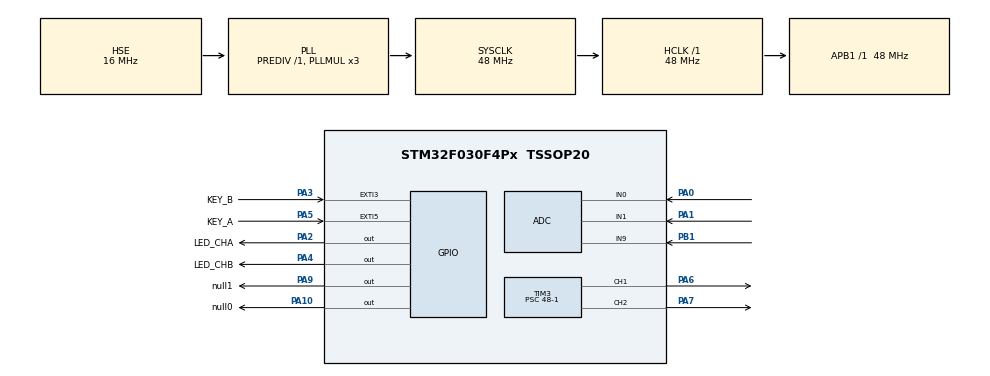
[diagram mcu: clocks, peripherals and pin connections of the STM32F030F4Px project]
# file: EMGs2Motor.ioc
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ADC.ExternalTrigConv=ADC_EXTERNALTRIGCONV_T1_TRGO
Dma.ADC.0.Direction=DMA_PERIPH_TO_MEMORY
Dma.ADC.0.Instance=DMA1_Channel1
Dma.ADC.0.MemDataAlignment=DMA_MDATAALIGN_HALFWORD
Dma.ADC.0.MemInc=DMA_MINC_ENABLE
Dma.ADC.0.Mode=DMA_NORMAL
Dma.ADC.0.PeriphDataAlignment=DMA_PDATAALIGN_HALFWORD
Dma.ADC.0.PeriphInc=DMA_PINC_DISABLE
Dma.ADC.0.Priority=DMA_PRIORITY_LOW
Dma.Request0=ADC
Mcu.Family=STM32F0
Mcu.Name=STM32F030F4Px
Mcu.Package=TSSOP20
Mcu.UserConstants=MOTOR_A_TIM,htim3;ADC_TIM,htim1;LED_TIM,htim14;KEY_TIM,htim16
NVIC.ADC1_IRQn=true\:0\:0\:false\:false\:true\:true\:true
NVIC.DMA1_Channel1_IRQn=true\:0\:0\:false\:false\:true\:false\:true
NVIC.EXTI2_3_IRQn=true\:0\:0\:false\:false\:true\:true\:true
NVIC.EXTI4_15_IRQn=true\:0\:0\:false\:false\:true\:true\:true
NVIC.TIM14_IRQn=true\:1\:0\:true\:false\:true\:true\:true
NVIC.TIM16_IRQn=true\:0\:0\:false\:false\:true\:true\:true
NVIC.TIM1_BRK_UP_TRG_COM_IRQn=true\:0\:0\:true\:false\:true\:true\:true
PA0.Mode=IN0
PA0.Signal=ADC_IN0
PA1.Mode=IN1
PA1.Signal=ADC_IN1
PA10.GPIO_Label=null0
PA10.GPIO_PuPd=GPIO_PULLDOWN
PA10.Signal=GPIO_Output
PA13.Mode=Serial_Wire
PA13.Signal=SYS_SWDIO
PA14.Mode=Serial_Wire
PA14.Signal=SYS_SWCLK
PA2.GPIO_Label=LED_CHA
PA2.GPIO_PuPd=GPIO_PULLDOWN
PA2.Signal=GPIO_Output
PA3.GPIO_Label=KEY_B
PA3.GPIO_ModeDefaultEXTI=GPIO_MODE_IT_FALLING
PA3.Signal=GPXTI3
PA4.GPIO_Label=LED_CHB
PA4.GPIO_PuPd=GPIO_PULLDOWN
PA4.Signal=GPIO_Output
PA5.GPIO_Label=KEY_A
PA5.GPIO_ModeDefaultEXTI=GPIO_MODE_IT_FALLING
PA5.Signal=GPXTI5
PA6.Signal=S_TIM3_CH1
PA7.Signal=S_TIM3_CH2
PA9.GPIO_Label=null1
PA9.GPIO_PuPd=GPIO_PULLDOWN
PA9.Signal=GPIO_Output
PB1.Mode=IN9
PB1.Signal=ADC_IN9
PF0-OSC_IN.Mode=HSE-External-Oscillator
PF0-OSC_IN.Signal=RCC_OSC_IN
PF1-OSC_OUT.Mode=HSE-External-Oscillator
PF1-OSC_OUT.Signal=RCC_OSC_OUT
ProjectManager.HeapSize=0x200
ProjectManager.StackSize=0x400
ProjectManager.TargetToolchain=MDK-ARM V5.27
RCC.AHBFreq_Value=48000000
RCC.APB1Freq_Value=48000000
RCC.APB1TimFreq_Value=48000000
RCC.HCLKFreq_Value=48000000
RCC.HSE_VALUE=16000000
RCC.PLLMUL=RCC_PLL_MUL3
RCC.PLLSourceVirtual=RCC_PLLSOURCE_HSE
RCC.SYSCLKFreq_VALUE=48000000
RCC.SYSCLKSource=RCC_SYSCLKSOURCE_PLLCLK
SH.S_TIM3_CH1.0=TIM3_CH1,PWM Generation1 CH1
SH.S_TIM3_CH2.0=TIM3_CH2,PWM Generation2 CH2
TIM1.AutoReloadPreload=TIM_AUTORELOAD_PRELOAD_ENABLE
TIM1.Prescaler=48-1
TIM1.TIM_MasterOutputTrigger=TIM_TRGO_UPDATE
TIM14.AutoReloadPreload=TIM_AUTORELOAD_PRELOAD_ENABLE
TIM14.Period=1000-1
TIM14.Prescaler=48-1
TIM16.AutoReloadPreload=TIM_AUTORELOAD_PRELOAD_ENABLE
TIM16.Period=1000-1
TIM16.Prescaler=48-1
TIM3.AutoReloadPreload=TIM_AUTORELOAD_PRELOAD_ENABLE
TIM3.Channel-PWM\ Generation1\ CH1=TIM_CHANNEL_1
TIM3.Channel-PWM\ Generation2\ CH2=TIM_CHANNEL_2
TIM3.Period=1000-1
TIM3.Prescaler=48-1
TIM3.Pulse-PWM\ Generation1\ CH1=0
TIM3.Pulse-PWM\ Generation2\ CH2=0
TIM3.TIM_MasterOutputTrigger=TIM_TRGO_RESET
VP_TIM14_VS_ClockSourceINT.Mode=Enable_Timer
VP_TIM16_VS_ClockSourceINT.Mode=Enable_Timer
VP_TIM1_VS_ClockSourceINT.Mode=Internal
board=custom

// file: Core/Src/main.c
/* USER CODE BEGIN Header */
/**
  ******************************************************************************
  * @file           : main.c
  * @brief          : Main program body
  ******************************************************************************
  * @attention
  *
  * <h2><center>&copy; Copyright (c) 2021 STMicroelectronics.
  * All rights reserved.</center></h2>
  *
  * This software component is licensed by ST under BSD 3-Clause license,
  * the "License"; You may not use this file except in compliance with the
  * License. You may obtain a copy of the License at:
  *                        opensource.org/licenses/BSD-3-Clause
  *
  ******************************************************************************
  */
/* USER CODE END Header */
#include "main.h"
#include "adc.h"
#include "dma.h"
#include "tim.h"
#include "gpio.h"

void SystemClock_Config(void);
/* USER CODE BEGIN PFP */

void UserInit(void);
void PowerOut(void);
uint8_t  GetValueLen(uint8_t channal);
void TimerInit(TIM_HandleTypeDef htim, uint16_t period);
void KeyService(void);
void Set_Value(uint8_t channel);
/* USER CODE END PFP */

/* USER CODE BEGIN 0 */
//ADC_Buff
uint8_t ADC_Flag = 0U;
static const uint16_t adcLen = S_CHANNEL__NUM * ADC_LEN;
uint16_t ADC_Buff[adcLen];
uint16_t S_Value[S_CHANNEL__NUM][SUBDIVIDE + 1];
static const uint16_t S_Value_Vector = 0xFFF / SUBDIVIDE;
uint8_t S_Value_Centerline[S_CHANNEL__NUM] = {S_VALUE_CENTERLINE_CHA, S_VALUE_CENTERLINE_CHB};
uint8_t S_Value_Top[S_CHANNEL__NUM] = {S_VALUE_TOP_CHA, S_VALUE_TOP_CHB};
uint16_t S_Value_Set_Cycle_Tick = 0;
uint8_t S_Value_Pos[S_CHANNEL__NUM][2];
uint8_t S_Value_Len[S_CHANNEL__NUM];
static const uint8_t S_Value_Centerline_Set_Min[S_CHANNEL__NUM] = {SET_S_VALUE_CENTERLINE_CHA_MIN, SET_S_VALUE_CENTERLINE_CHB_MIN};
static const uint8_t S_Value_Centerline_Set_Max[S_CHANNEL__NUM] = {SET_S_VALUE_CENTERLINE_CHA_MAX, SET_S_VALUE_CENTERLINE_CHB_MAX};

float Sig2Speed[S_CHANNEL__NUM] = {(float)S_VALUE_TOP_CHA / SPEED_SUBDIVIDE, (float)S_VALUE_TOP_CHB / SPEED_SUBDIVIDE};
static const uint16_t Speed_Top = MOTOR_A_TIM_PERIOD * 0.6 ; //
static const float Speed_Sub = (float)Speed_Top / SPEED_SUBDIVIDE;

float Sig2Led = (float)SUBDIVIDE / LED_SUBDIVIDE;
uint16_t Led_ARR[S_CHANNEL__NUM] = {LED_SUBDIVIDE, LED_SUBDIVIDE};
uint16_t Led_CNT[S_CHANNEL__NUM] = {LED_SUBDIVIDE, LED_SUBDIVIDE};
uint16_t Led_CCR[S_CHANNEL__NUM] = {0};
static const uint16_t  Led_Keep_ON = (LED_TIM_PERIOD + 1) / LED_SUBDIVIDE;

uint8_t Value_Status = CH_ALL;
uint8_t Key_status[S_CHANNEL__NUM] = {0};
uint8_t Key_state[S_CHANNEL__NUM] = {0};
uint16_t Key_Down_Tick[S_CHANNEL__NUM] = {0};
uint16_t Key_Up_Tick[S_CHANNEL__NUM] = {0};

uint8_t Centerline_Set = CH_DIS;
uint8_t Value_Set_Channel = CH_DIS;
uint8_t Value_Set_Status = 0;
uint16_t Value_Set_Tem = 0;
uint8_t Value_Set_Flag = 1U;

uint16_t Sig2SpeedLevel[S_CHANNEL__NUM];

uint8_t PWR_Flag = 1U;
uint16_t PWR_Value;
/* USER CODE END 0 */

int main(void)
{

    /* MCU Configuration--------------------------------------------------------*/

    /* Reset of all peripherals, Initializes the Flash interface and the Systick. */
    HAL_Init();

    /* Configure the system clock */
    SystemClock_Config();

    /* Initialize all configured peripherals */
    MX_GPIO_Init();
    MX_DMA_Init();
    MX_ADC_Init();
    MX_TIM3_Init();
    MX_TIM1_Init();
    MX_TIM14_Init();
    MX_TIM16_Init();

    /* USER CODE BEGIN 2 */
    for(uint16_t i = 0; i < 20; i++)
    {
        HAL_GPIO_TogglePin (LED_CHA_GPIO_Port, LED_CHA_Pin);
        HAL_GPIO_TogglePin (LED_CHB_GPIO_Port, LED_CHB_Pin);
        HAL_Delay(200);
    }

    UserInit();

//hadc.Instance->DR;
//S_Value_Len S_Value_Centerline
    /* USER CODE END 2 */

    /* Infinite loop */
    /* USER CODE BEGIN WHILE */
    while (1)
    {

        PowerOut();
        KeyService();
        /* USER CODE END WHILE */

    }
}

void SystemClock_Config(void)
{
    RCC_OscInitTypeDef RCC_OscInitStruct = {0};
    RCC_ClkInitTypeDef RCC_ClkInitStruct = {0};

    /** Initializes the RCC Oscillators according to the specified parameters
    * in the RCC_OscInitTypeDef structure.
    */
    RCC_OscInitStruct.OscillatorType = RCC_OSCILLATORTYPE_HSI14 | RCC_OSCILLATORTYPE_HSE;
    RCC_OscInitStruct.HSEState = RCC_HSE_ON;
    RCC_OscInitStruct.HSI14State = RCC_HSI14_ON;
    RCC_OscInitStruct.HSI14CalibrationValue = 16;
    RCC_OscInitStruct.PLL.PLLState = RCC_PLL_ON;
    RCC_OscInitStruct.PLL.PLLSource = RCC_PLLSOURCE_HSE;
    RCC_OscInitStruct.PLL.PLLMUL = RCC_PLL_MUL3;
    RCC_OscInitStruct.PLL.PREDIV = RCC_PREDIV_DIV1;

    if (HAL_RCC_OscConfig(&RCC_OscInitStruct) != HAL_OK)
    {
        Error_Handler();
    }

    /** Initializes the CPU, AHB and APB buses clocks
    */
    RCC_ClkInitStruct.ClockType = RCC_CLOCKTYPE_HCLK | RCC_CLOCKTYPE_SYSCLK
                                  | RCC_CLOCKTYPE_PCLK1;
    RCC_ClkInitStruct.SYSCLKSource = RCC_SYSCLKSOURCE_PLLCLK;
    RCC_ClkInitStruct.AHBCLKDivider = RCC_SYSCLK_DIV1;
    RCC_ClkInitStruct.APB1CLKDivider = RCC_HCLK_DIV1;

    if (HAL_RCC_ClockConfig(&RCC_ClkInitStruct, FLASH_LATENCY_1) != HAL_OK)
    {
        Error_Handler();
    }
}

/* USER CODE BEGIN 4 */

void HAL_TIM_PeriodElapsedCallback ( TIM_HandleTypeDef *htim )
{

    if ( htim->Instance == LED_TIM.Instance )
    {
        if(ADC_Flag == 0U && Centerline_Set == CH_DIS && Value_Set_Channel == CH_DIS)
        {
            Led_ARR[CHA] = (uint16_t)(S_Value_Len[CHA] / Sig2Led);
            Led_ARR[CHB] = (uint16_t)(S_Value_Len[CHB] / Sig2Led);

        }

//Led_CNT
        if(Led_ARR[CHA] < LED_CENTERLINE)
            Led_ARR[CHA] = 0;

        if(Led_ARR[CHB] < LED_CENTERLINE)
            Led_ARR[CHB] = 0;

        if(Led_CNT[CHA] < Led_ARR[CHA])
        {
            if(Led_CCR[CHA] < LED_kEEP_ON)
            {
                Led_CCR[CHA]++;
                HAL_GPIO_WritePin (LED_CHA_GPIO_Port, LED_CHA_Pin, !0U);
            }
            else
            {
                Led_CNT[CHA] = LED_SUBDIVIDE - 1;
                Led_CCR[CHA] = 0;
                HAL_GPIO_WritePin (LED_CHA_GPIO_Port, LED_CHA_Pin, 0U);
            }

        }
        else if(Led_ARR[CHA] > 0)
        {
            Led_CNT[CHA]--;
        }
        else
        {

            HAL_GPIO_WritePin (LED_CHA_GPIO_Port, LED_CHA_Pin, 0U);
        }

        if(Led_CNT[CHB] < Led_ARR[CHB])
        {
            if(Led_CCR[CHB] < LED_kEEP_ON)
            {
                Led_CCR[CHB]++;
                HAL_GPIO_WritePin (LED_CHB_GPIO_Port, LED_CHB_Pin, !0U);
            }
            else
            {
                Led_CNT[CHB] = LED_SUBDIVIDE - 1;
                Led_CCR[CHB] = 0;
                HAL_GPIO_WritePin (LED_CHB_GPIO_Port, LED_CHB_Pin, 0U);
            }
        }
        else if(Led_ARR[CHB] > 0)
        {
            Led_CNT[CHB]--;
        }
        else
            HAL_GPIO_WritePin (LED_CHB_GPIO_Port, LED_CHB_Pin, 0U);

    }

    if( htim->Instance == KEY_TIM.Instance )
    {
        //Key_Down_Tick Key_Up_Tick
        if(HAL_GPIO_ReadPin(KEY_A_GPIO_Port, KEY_A_Pin) == 0U)
            Key_Down_Tick[CHA]++;
        else
        {
            Key_Down_Tick[CHA] = 0;
            Key_Up_Tick[CHA]++;
        }

        if(HAL_GPIO_ReadPin(KEY_B_GPIO_Port, KEY_B_Pin) == 0U)
            Key_Down_Tick[CHB]++;
        else
        {

            Key_Up_Tick[CHB]++;
            Key_Down_Tick[CHB] = 0;
        }
    }

}

void PowerOut(void)
{

    if(Centerline_Set == CH_DIS && Value_Set_Channel == CH_DIS)
    {
        if(GetValueLen(CH_ALL))
        {

            Sig2SpeedLevel[CHA] = S_Value_Len[CHA] / Sig2Speed[CHA];
            Sig2SpeedLevel[CHB] = S_Value_Len[CHB] / Sig2Speed[CHB] ;

            if(Sig2SpeedLevel[CHA] > Sig2SpeedLevel[CHB]
							&&Sig2SpeedLevel[CHA] - Sig2SpeedLevel[CHB] > COMPARE_TH)
            {
                    Value_Status = CHA;
            }
            else if(Sig2SpeedLevel[CHB] > Sig2SpeedLevel[CHA]
							&&Sig2SpeedLevel[CHB] - Sig2SpeedLevel[CHA] > COMPARE_TH)
            {
                    Value_Status = CHB;
            }
            else
                Value_Status = CH_DIS;

            if(Value_Status == CHA)
            {
                MOTOR_A_CCRA = Sig2SpeedLevel[CHA] * Speed_Sub; //Sig2SpeedLevel
                MOTOR_A_DIR_A_EN;
            }
            else if(Value_Status == CHB)
            {
                MOTOR_A_CCRB = Sig2SpeedLevel[CHB] * Speed_Sub; //Sig2SpeedLevel
                MOTOR_A_DIR_B_EN;
            }
            else
                MOTOR_A_DIS;

        }

    }
    else if(Value_Set_Channel < CH_DIS)
    {
        Set_Value(Value_Set_Channel);
        Value_Status = CH_DIS;
        MOTOR_A_DIS;
    }

}

uint8_t GetValueLen(uint8_t channal)
{

    if(ADC_Flag)
    {
        ADC_Flag = 0U;
        Value_Set_Flag = 1U;
        HAL_TIM_Base_Stop_IT(&LED_TIM);

        if(PWR_Flag)
        {
            PWR_Flag = 0U;

            for(uint16_t i = 0, j = 0; i < adcLen; i++, j++)
            {
                S_Value[CHA][ADC_Buff[i] / S_Value_Vector]++;
                i++;
                S_Value[CHB][ADC_Buff[i] / S_Value_Vector]++;

            }

            hadc.Instance->CHSELR = PWR_ADC;
            HAL_ADC_Start_DMA ( &hadc, ( uint32_t* ) &PWR_Value, 1 );

            for(uint16_t i = 0, j[S_CHANNEL__NUM] = {0U}; i < SUBDIVIDE; i++)
            {
                if(channal == CH_ALL)
                {
                    if(S_Value[CHA][i] > S_VALUE_COUNT_TH)
                    {
                        if(	j[CHA] == 0U)
                            S_Value_Pos[CHA][1] = i;
                        else
                            S_Value_Pos[CHA][0] = i;

                        j[CHA] = 1U;
                    }

                    if(S_Value[CHB][i] > S_VALUE_COUNT_TH)
                    {
                        if(	j[CHB] == 0U)
                            S_Value_Pos[CHB][1] = i;
                        else
                            S_Value_Pos[CHB][0] = i;

                        j[CHB] = 1U;
                    }

                }
                else
                {
                    if(S_Value[channal][i] > S_VALUE_COUNT_TH)
                    {
                        if(	j[channal] == 0U)
                            S_Value_Pos[channal][1] = i;
                        else
                            S_Value_Pos[channal][0] = i;

                        j[channal] = 1U;
                    }
                }
            }

            if(channal == CH_ALL)
            {
                S_Value_Len[CHA] = S_Value_Pos[CHA][0] - S_Value_Pos[CHA][1];
                S_Value_Len[CHB] = S_Value_Pos[CHB][0] - S_Value_Pos[CHB][1];
            }
            else
                S_Value_Len[channal] = S_Value_Pos[channal][0] - S_Value_Pos[channal][1];

            for(uint16_t i = 0; i < SUBDIVIDE; i++)
            {
                for(uint16_t j = 0; j < S_CHANNEL__NUM; j++)
                    S_Value[j][i] = 0;
            }

        }//PWR_Value
        else
        {
            if(PWR_Value > 2450)
            {
                PWR_Flag = 1U;
                hadc.Instance->CHSELR = EMG_ADC;
                HAL_ADC_Start_DMA ( &hadc, ( uint32_t* ) &ADC_Buff, adcLen );

            }
            else
            {
                MOTOR_A_DIS;
                HAL_ADC_Start_DMA ( &hadc, ( uint32_t* ) &PWR_Value, 1 );
            }

        }

        HAL_TIM_Base_Start_IT(&LED_TIM);
        return 1U;
    }

}

void KeyService(void)
{
//判断是否长按
    if((Key_Up_Tick[CHA] > KEY_TIME_OUT) || (Key_Up_Tick[CHB] > KEY_TIME_OUT))
    {
        Centerline_Set = CH_DIS;

        for(uint8_t i = 0; i < S_CHANNEL__NUM; i++)
        {
            Key_status[i] = 0;
            Key_Up_Tick[i] = 0;
            Led_ARR[i] = 0;
        }

        HAL_TIM_Base_Stop_IT(&KEY_TIM);
    }

    if(Key_Down_Tick[CHA] > KEY_LONG || Key_Down_Tick[CHB] > KEY_LONG)
    {
        HAL_TIM_Base_Stop_IT(&KEY_TIM);
        uint8_t channel = Key_Down_Tick[CHA] > KEY_LONG ? CHA : CHB;
        Centerline_Set = CH_DIS;
        Value_Set_Channel = channel;

        for(uint8_t i = 0; i < S_CHANNEL__NUM; i++)
        {
            Key_Down_Tick[i] = 0;
        }
    }
    else if((Key_Down_Tick[CHA] > KEY_SHORT || Key_Down_Tick[CHB] > KEY_SHORT) && Value_Set_Channel == CH_DIS)
    {
        //如果不是长按，则判断两个按键是否都处于松开状态
        if((HAL_GPIO_ReadPin(KEY_A_GPIO_Port, KEY_A_Pin) == !0U) && (HAL_GPIO_ReadPin(KEY_B_GPIO_Port, KEY_B_Pin) == !0U))
        {
            uint8_t channel = Key_Down_Tick[CHA] > KEY_SHORT ? CHA : CHB;
            Key_Down_Tick[channel] = 0;

            if(Centerline_Set == CH_DIS)
            {
                switch(Key_status[channel])
                {
                    case 0:
                        Key_status[channel]++;
                        break;

                    case 1:
                        Led_ARR[channel] = LED_SUBDIVIDE;

                        for(uint8_t i = 0U; i < S_CHANNEL__NUM; i++)
                        {
                            if(i != channel)
                                Led_ARR[i] = 0;
                        }

                        Centerline_Set = channel;		//当判断为双击，则进入Centerline设置状态
                        break;
                }
            }
            else
            {
                Key_Up_Tick[CHA] = 0;
                Key_Up_Tick[CHB] = 0;

                //调节Centerline幅值
                switch(channel)
                {
                    case CHA:
                        if(S_Value_Centerline[Centerline_Set] > S_Value_Centerline_Set_Min[Centerline_Set])
                            S_Value_Centerline[Centerline_Set]--;

                        break;

                    case CHB:
                        if(S_Value_Centerline[Centerline_Set] < S_Value_Centerline_Set_Max[Centerline_Set])
                            S_Value_Centerline[Centerline_Set]++;

                        break;
                }
            }

        }

    }
}

void Set_Value(uint8_t channel)
{
    GetValueLen(channel);

    if(ADC_Flag == 0U)
    {
        if(Value_Set_Flag)
        {
            Value_Set_Flag = 0U;

            switch(Value_Set_Status)
            {
                case 0:

                    //当采集次数超出阈值则进入下一状态
                    if(S_Value_Set_Cycle_Tick > S_VALUE_SET_CYCLE)
                    {
                        Value_Set_Status++;
                        S_Value_Top[channel] = 0;
                    }
                    else
                    {
                        //设置led输出pwm占空比
                        Led_ARR[channel] = LED_SUBDIVIDE * 0.5;

                        for(uint8_t i = 0U; i < S_CHANNEL__NUM; i++)
                        {
                            if(i != channel)
                                Led_ARR[i] = 0;
                        }

                        //获取最大值作为Centerline基准
                        if(S_Value_Len[channel] > S_Value_Centerline[channel]
                                && S_Value_Len[channel] > S_Value_Centerline_Set_Min[channel]
                                && S_Value_Len[channel] < S_Value_Centerline_Set_Max[channel])
                            S_Value_Centerline[channel] = S_Value_Len[channel] + S_VALUE_SET_TH;

                    }

                    break;

                case 1:

                    if(S_Value_Set_Cycle_Tick > S_VALUE_SET_CYCLE * 2)
                    {
                        //修改速度区间并退出设置状态
                        Led_ARR[channel] = 0;
                        Value_Set_Status = 0;
                        S_Value_Set_Cycle_Tick = 0;
                        Value_Set_Channel = CH_DIS;
                        Sig2Speed[channel] = (float)(S_Value_Top[channel] - S_Value_Centerline[channel]) / SPEED_SUBDIVIDE;
                    }
                    else
                    {

                        //设置led为常亮
                        Led_ARR[channel] = LED_SUBDIVIDE;

                        //获取最大值作为Top线
                        if(S_Value_Len[channel] > S_Value_Top[channel])
                            S_Value_Top[channel] = S_Value_Len[channel] + S_VALUE_SET_TH;

                    }

                    break;
            }

            if(Value_Set_Channel < CH_DIS)
                S_Value_Set_Cycle_Tick++;
        }

    }

}

void HAL_ADC_ConvCpltCallback ( ADC_HandleTypeDef* AdcHandle )
{
    HAL_ADC_Stop_DMA(&hadc);
    ADC_Flag = 1U;
}

void HAL_GPIO_EXTI_Callback ( uint16_t GPIO_Pin )
{
    switch(GPIO_Pin)
    {
        case KEY_A_Pin:
            HAL_TIM_Base_Start_IT ( &KEY_TIM );
            break;

        case KEY_B_Pin:
            HAL_TIM_Base_Start_IT ( &KEY_TIM );
            break;
    }
}

void UserInit(void)
{
    for(uint16_t i = 0; i < SUBDIVIDE; i++)
    {
        for(uint16_t j = 0; i < S_CHANNEL__NUM; i++)
            S_Value[j][i] = 0;
    }

    S_Value_Pos[CHA][0] = 0;
    S_Value_Pos[CHB][0] = 0;
    S_Value_Pos[CHA][1] = 0xFF;
    S_Value_Pos[CHB][1] = 0xFF;
    //TIM3->CNT  S_Value

    TimerInit(ADC_TIM, ADC_TIM_PERIOD);
    HAL_TIM_Base_Start ( &ADC_TIM );
    TimerInit(LED_TIM, LED_TIM_PERIOD);
    HAL_TIM_Base_Start_IT ( &LED_TIM );
    TimerInit(MOTOR_A_TIM, MOTOR_A_TIM_PERIOD);
    HAL_TIM_Base_Start ( &MOTOR_A_TIM );
    TimerInit(KEY_TIM, KEY_TIM_PERIOD);
    HAL_TIM_Base_Start_IT ( &KEY_TIM );

    HAL_ADC_Start_DMA ( &hadc, ( uint32_t* ) &ADC_Buff, adcLen );

}

void TimerInit(TIM_HandleTypeDef htim, uint16_t period)
{
    //TIM14->CNT TIM16->CNT TIM1->CNT TIM3->CNT
    htim.Instance->ARR = period;
    htim.Instance->CCER = 0U;
}
/* USER CODE END 4 */

void Error_Handler(void)
{
    __disable_irq();
    while (1)
    {
    }
}

/************************ (C) COPYRIGHT STMicroelectronics *****END OF FILE****/
